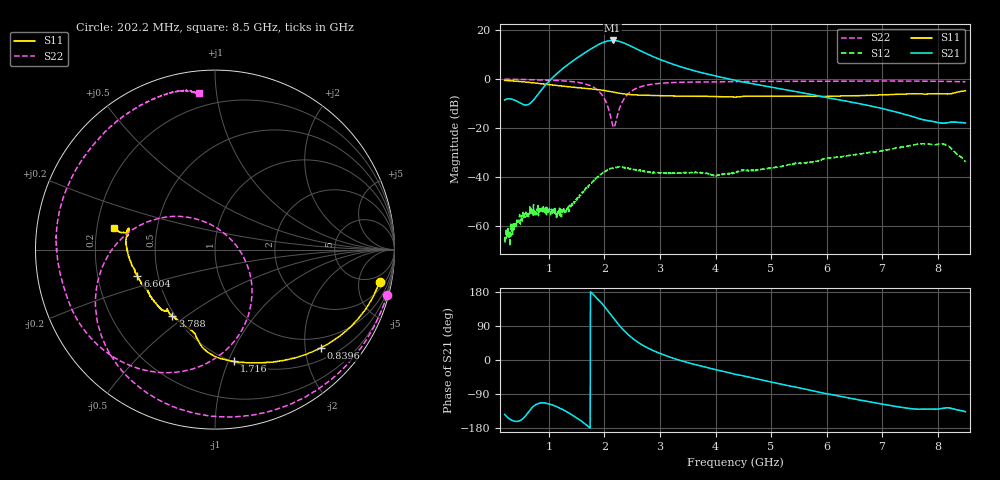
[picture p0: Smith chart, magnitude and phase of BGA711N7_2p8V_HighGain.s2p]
! S-Parameter file
! LabView S2P reader
! (c) DICE Linz
! Infineon Technologies
! Date: 14.11.2008 10:49
!BGA711L7_DeviceLevel_PEXTon_Board#2
!2.80_2.80_
!0 deg
# MHZ S MA R 50
!  S11  S21  S12  S22
!  f  mag  angle  mag  angle  mag  angle  mag  angle
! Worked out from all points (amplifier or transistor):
!   1563 points, 202.2 MHz to 8.5 GHz, reference 50 ohm
!   highest |S21| = 15.7 dB at 2.146 GHz (marker M1)
!   |S21| within 3 dB of that: 1.79 GHz to 2.537 GHz (747.3 MHz wide, 34.5 % of centre)
!   unconditionally stable (mu >= 1): start of sweep to end of sweep
!   at 1.583 GHz: K = 7.27, MAG = 16.9 dB, |S12| = -47.2 dB
!   at 4.351 GHz: K = 7.46, MAG = 7.1 dB, |S12| = -38.1 dB
!   at 8.5 GHz: K = 30.37, MAG = -9.9 dB, |S12| = -33.9 dB
!   lowest NFmin = 0.85 dB at 2.14 GHz
!   S11 on the Smith chart (normalised r, x): 202.2 MHz: 3.25, -9.26; 839.6 MHz: 0.75, -2.34; 1.716 GHz: 0.51, -1.05; 3.788 GHz: 0.48, -0.44; 6.604 GHz: 0.38, -0.14; 8.5 GHz: 0.27, +0.10
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202.1679  0.9353 -11.0  0.3725 -143.4  0.0005893 100.8  0.9915 -14.9
839.6454  0.8051 -42.9  0.5487 -113.8  0.002203 82.5  0.9586 -62.9
1232.756  0.7164 -60.0  1.576 -129.7  0.002034 97.0  0.9181 -97.4
1588.681  0.6522 -74.9  3.106 -161.7  0.004591 139.7  0.8264 -135.0
1716.177  0.6319 -80.2  3.855 -176.2  0.006682 137.4  0.753 -151.5
1854.297  0.6095 -86.4  4.781 165.0  0.009352 129.0  0.6221 -173.1
1955.231  0.5908 -90.8  5.462 148.9  0.01182 120.5  0.4752 166.7
2045.54  0.569 -94.7  5.932 132.7  0.01348 110.3  0.3032 142.5
2146.474  0.5421 -98.1  6.129 113.6  0.01497 99.1  0.1149 79.2
2279.282  0.5074 -101.1  5.805 89.4  0.01564 85.1  0.2649 -40.4
2374.904  0.4915 -102.5  5.285 74.4  0.01551 76.2  0.4249 -65.2
2475.838  0.4782 -104.0  4.702 60.7  0.01458 69.0  0.5531 -82.5
2714.892  0.4648 -107.7  3.481 37.0  0.01324 63.3  0.7263 -109.6
2969.883  0.4576 -111.4  2.585 19.1  0.01231 58.9  0.807 -128.3
3304.558  0.4469 -116.2  1.88 1.6  0.01178 59.8  0.8509 -145.4
3787.979  0.4413 -122.7  1.314 -17.8  0.01224 55.6  0.8661 -163.0
4351.084  0.4272 -128.7  0.9392 -37.5  0.01245 69.6  0.8812 179.9
5737.597  0.4416 -145.5  0.4785 -80.7  0.01994 68.8  0.8953 140.3
6603.504  0.4567 -161.0  0.3093 -105.8  0.02986 58.4  0.904 119.5
7118.799  0.4794 -173.9  0.2312 -119.2  0.03554 48.9  0.9071 110.6
8106.889  0.4938 166.6  0.1243 -126.9  0.04672 -5.4  0.8915 98.5
8500  0.5735 167.8  0.1258 -136.5  0.02008 -33.8  0.8777 96.0
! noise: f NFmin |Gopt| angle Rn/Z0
1400  0.9  0.474  45  0.28
1450  0.9  0.45  49  0.26
1500  0.9  0.43  53  0.25
1850  0.9  0.341  83  0.15
1900  0.89  0.341  83.7  0.15
1960  0.88  0.342  84.5  0.145
2140  0.85  0.344  87  0.14
2160  0.85  0.339  89  0.14
2300  0.88  0.315  103  0.12
